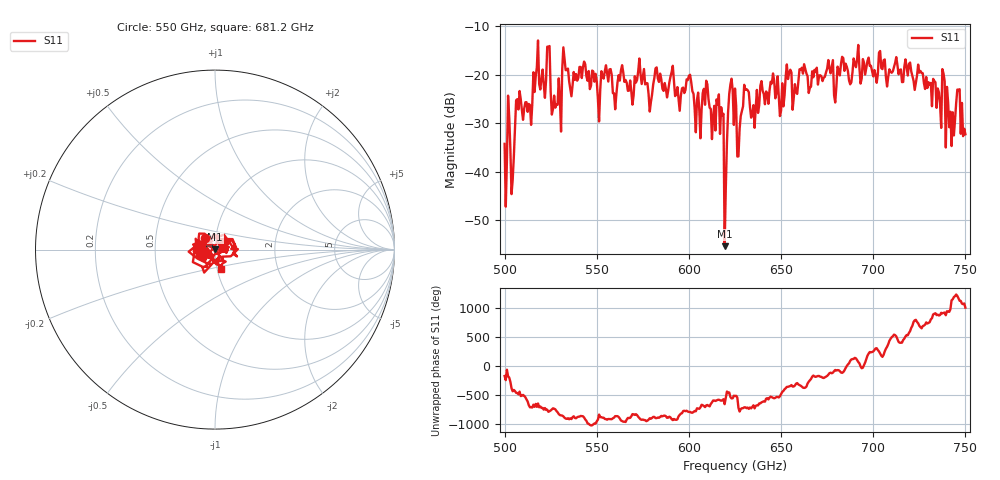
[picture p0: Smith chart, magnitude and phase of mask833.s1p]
!Created with skrf (http://scikit-rf.org).
# GHz S MA R 50.0
!freq magS11 angS11
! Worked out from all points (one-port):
!   401 points, 500 GHz to 750 GHz, reference 50 ohm
!   lowest |S11| = -55.3 dB at 619.4 GHz (marker M1), VSWR 1.00, Z = 50.1 + j0.154 ohm
!   |S11| at or under -10 dB: start of sweep to end of sweep
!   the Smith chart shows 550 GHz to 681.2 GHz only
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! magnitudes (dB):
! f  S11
! 500 GHz  -34.2
! 504.4 GHz  -41.7
! 507.5 GHz  -27.2
! 513.8 GHz  -26.2
! 516.9 GHz  -20.4
! 523.8 GHz  -14.2
! 526.9 GHz  -24.3
! 531.2 GHz  -18.9
! 562.5 GHz  -21.2
! 593.8 GHz  -22.5
! 600 GHz  -20.2
! 605 GHz  -23.7
! 608.8 GHz  -26.2
! 616.2 GHz  -24.0
! 619.4 GHz  -55.3
! 620.6 GHz  -34.0
! 622.5 GHz  -22.0
! 625 GHz  -22.8
! 627.5 GHz  -31.2
! 631.2 GHz  -23.0
! 635 GHz  -26.3
! 656.2 GHz  -27.2
! 687.5 GHz  -22.0
! 718.8 GHz  -20.2
! 738.8 GHz  -21.3
! 742.5 GHz  -34.7
! 745.6 GHz  -23.1
! 750 GHz  -32.3
